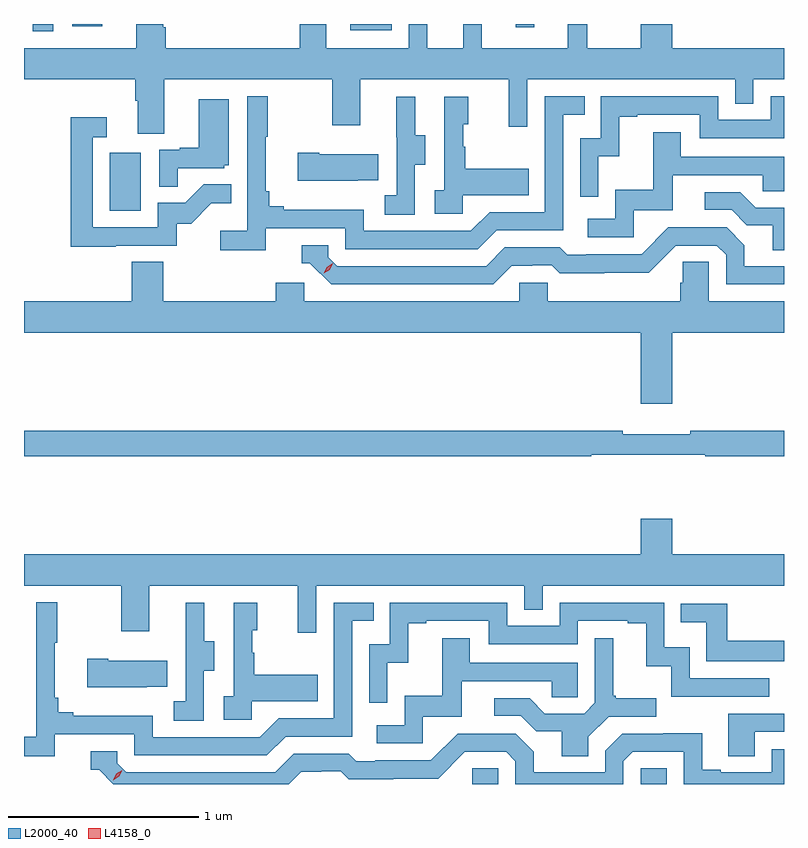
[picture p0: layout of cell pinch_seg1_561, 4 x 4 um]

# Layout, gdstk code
import gdstk
lib = gdstk.Library(unit=1e-6, precision=1e-09)
def R(c, l, rs):  # rectangles x0, y0, x1, y1
    for r in rs: c.add(gdstk.rectangle(r[:2], r[2:], *l))
def P(c, l, *ps):  # polygons
    for p in ps: c.add(gdstk.Polygon(p, *l))
L2000_40 = (2000, 40)
L4158_0 = (4158, 0)

pinch_seg1_561 = lib.new_cell('pinch_seg1_561')
R(pinch_seg1_561, L2000_40, [(1039.243,520.052,1039.38,520.136), (1040.13,520.052,1040.269,520.136), (1037.336,523.068,1037.5,523.375), (1036.932,524.013,1037.04,524.052), (1038.603,524.018,1038.82,524.052), (1039.473,524.034,1039.57,524.052), (1037.138,524.04,1037.296,524.052)])
P(pinch_seg1_561, L2000_40, [(1037.477,523.924),(1036.885,523.924),(1036.885,523.76),(1037.471,523.76),(1037.471,523.648),(1037.483,523.648),(1037.483,523.474),(1037.623,523.474),(1037.623,523.76),(1038.507,523.76),(1038.507,523.52),(1038.655,523.52),(1038.655,523.76),(1039.436,523.76),(1039.436,523.512),(1039.533,523.512),(1039.533,523.76),(1040.628,523.76),(1040.628,523.633),(1040.724,523.633),(1040.724,523.76),(1040.885,523.76),(1040.885,523.924),(1040.296,523.924),(1040.296,524.052),(1040.132,524.052),(1040.132,523.924),(1039.85,523.924),(1039.85,524.052),(1039.748,524.052),(1039.748,523.924),(1039.295,523.924),(1039.295,524.052),(1039.196,524.052),(1039.196,523.924),(1039.007,523.924),(1039.007,524.052),(1038.909,524.052),(1038.909,523.924),(1038.475,523.924),(1038.475,524.052),(1038.335,524.052),(1038.335,523.924),(1037.63,523.924),(1037.63,524.036),(1037.617,524.036),(1037.617,524.052),(1037.477,524.052)],
  [(1038.158,522.978),(1038.576,522.978),(1038.576,522.867),(1039.273,522.867),(1039.372,522.966),(1039.722,522.966),(1039.722,523.575),(1039.835,523.575),(1039.835,523.671),(1039.626,523.671),(1039.626,523.062),(1039.335,523.062),(1039.236,522.963),(1038.672,522.963),(1038.672,523.075),(1038.253,523.075),(1038.253,523.094),(1038.176,523.094),(1038.176,523.171),(1038.157,523.171),(1038.157,523.459),(1038.169,523.459),(1038.169,523.672),(1038.06,523.672),(1038.06,522.964),(1037.919,522.964),(1037.919,522.862),(1038.158,522.862)],
  [(1039.908,523.355),(1040.018,523.355),(1040.018,523.563),(1040.113,523.563),(1040.113,523.575),(1040.442,523.575),(1040.442,523.452),(1040.885,523.452),(1040.885,523.671),(1040.814,523.671),(1040.814,523.548),(1040.538,523.548),(1040.538,523.671),(1039.92,523.671),(1039.92,523.452),(1039.812,523.452),(1039.812,523.143),(1039.908,523.143)],
  [(1038.942,523.312),(1038.997,523.312),(1038.997,523.467),(1038.943,523.467),(1038.943,523.669),(1038.845,523.669),(1038.845,523.455),(1038.846,523.455),(1038.846,523.151),(1038.783,523.151),(1038.783,523.048),(1038.942,523.048)],
  [(1039.194,523.151),(1039.541,523.151),(1039.541,523.291),(1039.207,523.291),(1039.207,523.406),(1039.197,523.406),(1039.197,523.524),(1039.222,523.524),(1039.222,523.669),(1039.098,523.669),(1039.098,523.178),(1039.047,523.178),(1039.047,523.053),(1039.194,523.053)],
  [(1037.693,523.293),(1037.94,523.293),(1037.94,523.308),(1037.962,523.308),(1037.962,523.657),(1037.804,523.657),(1037.804,523.402),(1037.705,523.402),(1037.705,523.389),(1037.598,523.389),(1037.598,523.195),(1037.693,523.195)],
  [(1037.369,522.885),(1037.688,522.885),(1037.688,523.002),(1037.764,523.002),(1037.871,523.109),(1037.975,523.109),(1037.975,523.208),(1037.831,523.208),(1037.733,523.11),(1037.589,523.11),(1037.589,522.981),(1037.247,522.981),(1037.247,523.455),(1037.32,523.455),(1037.32,523.561),(1037.131,523.561),(1037.131,522.88),(1037.369,522.88)],
  [(1040.094,523.071),(1040.299,523.071),(1040.299,523.257),(1040.773,523.257),(1040.773,523.173),(1040.885,523.173),(1040.885,523.353),(1040.341,523.353),(1040.341,523.483),(1040.197,523.483),(1040.197,523.18),(1039.998,523.18),(1039.998,523.026),(1039.851,523.026),(1039.851,522.93),(1040.094,522.93)],
  [(1038.641,523.229),(1038.749,523.229),(1038.749,523.366),(1038.439,523.366),(1038.439,523.374),(1038.327,523.374),(1038.327,523.226),(1038.641,523.226)],
  [(1040.885,523.086),(1040.737,523.086),(1040.656,523.167),(1040.469,523.167),(1040.469,523.074),(1040.61,523.074),(1040.69,522.994),(1040.825,522.994),(1040.825,522.862),(1040.885,522.862)],
  [(1039.453,522.78),(1039.56,522.78),(1039.56,522.783),(1039.663,522.783),(1039.705,522.741),(1039.938,522.741),(1039.938,522.743),(1040.174,522.743),(1040.316,522.885),(1040.532,522.885),(1040.58,522.837),(1040.58,522.681),(1040.885,522.681),(1040.885,522.777),(1040.677,522.777),(1040.677,522.887),(1040.583,522.981),(1040.277,522.981),(1040.136,522.84),(1039.843,522.84),(1039.843,522.837),(1039.744,522.837),(1039.705,522.876),(1039.416,522.876),(1039.317,522.777),(1038.534,522.777),(1038.486,522.825),(1038.486,522.888),(1038.347,522.888),(1038.347,522.792),(1038.39,522.792),(1038.501,522.681),(1039.354,522.681)],
  [(1040.353,522.8),(1040.353,522.69),(1040.339,522.69),(1040.339,522.592),(1039.641,522.592),(1039.641,522.69),(1039.491,522.69),(1039.491,522.592),(1038.36,522.592),(1038.36,522.69),(1038.209,522.69),(1038.209,522.592),(1037.618,522.592),(1037.618,522.8),(1037.453,522.8),(1037.453,522.592),(1036.885,522.592),(1036.885,522.428),(1040.132,522.428),(1040.132,522.054),(1040.296,522.054),(1040.296,522.428),(1040.885,522.428),(1040.885,522.592),(1040.49,522.592),(1040.49,522.8)],
  [(1039.87,521.784),(1040.47,521.784),(1040.47,521.776),(1040.885,521.776),(1040.885,521.912),(1040.392,521.912),(1040.392,521.893),(1040.036,521.893),(1040.036,521.912),(1036.885,521.912),(1036.885,521.776),(1039.87,521.776)],
  [(1038.423,521.096),(1039.518,521.096),(1039.518,520.969),(1039.614,520.969),(1039.614,521.096),(1040.885,521.096),(1040.885,521.26),(1040.296,521.26),(1040.296,521.449),(1040.132,521.449),(1040.132,521.26),(1036.885,521.26),(1036.885,521.096),(1037.398,521.096),(1037.398,520.857),(1037.545,520.857),(1037.545,521.096),(1038.326,521.096),(1038.326,520.847),(1038.423,520.847)],
  [(1037.048,520.314),(1037.466,520.314),(1037.466,520.203),(1038.163,520.203),(1038.262,520.302),(1038.612,520.302),(1038.612,520.911),(1038.725,520.911),(1038.725,521.007),(1038.516,521.007),(1038.516,520.398),(1038.225,520.398),(1038.126,520.299),(1037.562,520.299),(1037.562,520.411),(1037.143,520.411),(1037.143,520.43),(1037.066,520.43),(1037.066,520.507),(1037.047,520.507),(1037.047,520.795),(1037.059,520.795),(1037.059,521.008),(1036.95,521.008),(1036.95,520.3),(1036.885,520.3),(1036.885,520.198),(1037.048,520.198)],
  [(1038.798,520.691),(1038.908,520.691),(1038.908,520.899),(1039.003,520.899),(1039.003,520.911),(1039.332,520.911),(1039.332,520.788),(1039.8,520.788),(1039.8,520.911),(1040.063,520.911),(1040.063,520.899),(1040.159,520.899),(1040.159,520.673),(1040.292,520.673),(1040.292,520.512),(1040.807,520.512),(1040.807,520.608),(1040.388,520.608),(1040.388,520.771),(1040.256,520.771),(1040.256,521.007),(1039.704,521.007),(1039.704,520.884),(1039.428,520.884),(1039.428,521.007),(1038.81,521.007),(1038.81,520.788),(1038.702,520.788),(1038.702,520.479),(1038.798,520.479)],
  [(1037.832,520.648),(1037.887,520.648),(1037.887,520.803),(1037.833,520.803),(1037.833,521.005),(1037.735,521.005),(1037.735,520.791),(1037.736,520.791),(1037.736,520.487),(1037.673,520.487),(1037.673,520.384),(1037.832,520.384)],
  [(1038.084,520.487),(1038.431,520.487),(1038.431,520.627),(1038.097,520.627),(1038.097,520.742),(1038.087,520.742),(1038.087,520.86),(1038.112,520.86),(1038.112,521.005),(1037.988,521.005),(1037.988,520.514),(1037.937,520.514),(1037.937,520.389),(1038.084,520.389)],
  [(1040.885,520.807),(1040.587,520.807),(1040.587,521.001),(1040.341,521.001),(1040.341,520.904),(1040.476,520.904),(1040.476,520.698),(1040.885,520.698)],
  [(1039.855,520.3),(1039.962,520.407),(1040.212,520.407),(1040.212,520.504),(1039.999,520.504),(1039.999,520.516),(1039.987,520.516),(1039.987,520.819),(1039.89,520.819),(1039.89,520.479),(1039.833,520.422),(1039.627,520.422),(1039.546,520.503),(1039.359,520.503),(1039.359,520.41),(1039.5,520.41),(1039.58,520.33),(1039.715,520.33),(1039.715,520.198),(1039.855,520.198)],
  [(1038.984,520.407),(1039.189,520.407),(1039.189,520.593),(1039.663,520.593),(1039.663,520.509),(1039.8,520.509),(1039.8,520.689),(1039.231,520.689),(1039.231,520.819),(1039.087,520.819),(1039.087,520.516),(1038.888,520.516),(1038.888,520.362),(1038.741,520.362),(1038.741,520.266),(1038.984,520.266)],
  [(1037.531,520.565),(1037.639,520.565),(1037.639,520.702),(1037.329,520.702),(1037.329,520.71),(1037.217,520.71),(1037.217,520.562),(1037.531,520.562)],
  [(1040.731,520.326),(1040.885,520.326),(1040.885,520.422),(1040.591,520.422),(1040.591,520.198),(1040.731,520.198)],
  [(1038.343,520.116),(1038.45,520.116),(1038.45,520.119),(1038.553,520.119),(1038.595,520.077),(1038.828,520.077),(1038.828,520.079),(1039.064,520.079),(1039.206,520.221),(1039.422,520.221),(1039.47,520.173),(1039.47,520.052),(1040.04,520.052),(1040.04,520.173),(1040.088,520.221),(1040.358,520.221),(1040.358,520.052),(1040.885,520.052),(1040.885,520.236),(1040.82,520.236),(1040.82,520.113),(1040.551,520.113),(1040.551,520.126),(1040.455,520.126),(1040.455,520.319),(1040.25,520.319),(1040.25,520.317),(1040.034,520.317),(1039.944,520.227),(1039.944,520.113),(1039.567,520.113),(1039.567,520.223),(1039.473,520.317),(1039.167,520.317),(1039.026,520.176),(1038.733,520.176),(1038.733,520.173),(1038.634,520.173),(1038.595,520.212),(1038.306,520.212),(1038.207,520.113),(1037.424,520.113),(1037.376,520.161),(1037.376,520.224),(1037.237,520.224),(1037.237,520.128),(1037.28,520.128),(1037.356,520.052),(1038.279,520.052)])
P(pinch_seg1_561, L4158_0, [(1037.355,520.073),(1037.355,520.073),(1037.371,520.106),(1037.402,520.125),(1037.402,520.125),(1037.402,520.125),(1037.386,520.092),(1037.355,520.073)],
  [(1038.462,522.74),(1038.462,522.74),(1038.478,522.772),(1038.509,522.792),(1038.509,522.792),(1038.509,522.792),(1038.493,522.759),(1038.462,522.74)])

lib.write_gds('pinch_seg1_561.gds')
